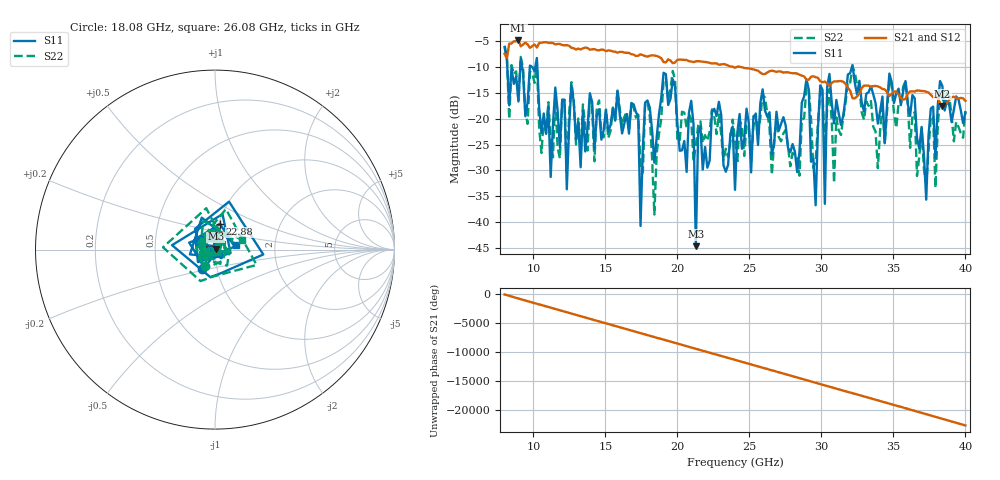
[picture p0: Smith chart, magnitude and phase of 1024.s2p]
!Agilent Technologies,N5227A,US51270464,A.10.00.00
!Agilent N5227A: A.10.00.00
!Date: Thursday, July 23, 2020 15:01:42
!Correction: S11(Full 2 Port(1,2))
!S21(Full 2 Port(1,2))
!S12(Full 2 Port(1,2))
!S22(Full 2 Port(1,2))
!S2P File: Measurements: S11, S21, S12, S22:
# Hz S  RI  R 50
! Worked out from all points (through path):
!   201 points, 8 GHz to 40 GHz, reference 50 ohm
!   highest |S21| = -4.85 dB at 8.96 GHz (marker M1); lowest = -17.5 dB at 38.4 GHz (marker M2)
!   lowest |S11| = -44.7 dB at 21.28 GHz (marker M3), VSWR 1.01, Z = 50.4 + j0.438 ohm
!   |S11| at or under -10 dB: 8.186 GHz to 9.089 GHz (903.2 MHz wide, 10.5 % of centre); 10.27 GHz to 32.12 GHz (21.85 GHz wide, 103 % of centre); 32.18 GHz to end of sweep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
!   |S22| runs from -38.5 to -5.9 dB; largest |S21 - S12| = 0.00032
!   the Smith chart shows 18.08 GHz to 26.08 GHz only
!   S11 on the Smith chart (normalised r, x): 18.08 GHz: 0.85, -0.18; 22.88 GHz: 1.01, +0.30; 26.08 GHz: 1.26, +0.07
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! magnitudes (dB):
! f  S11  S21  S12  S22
! 8 GHz  -6.2  -7.4  -7.4  -5.9
! 8.96 GHz  -16.7  -4.8  -4.8  -16.4
! 12.16 GHz  -16.3  -5.8  -5.8  -16.3
! 12.32 GHz  -33.7  -5.8  -5.8  -30.3
! 12.64 GHz  -13.5  -6.3  -6.3  -12.9
! 13.44 GHz  -18.4  -6.4  -6.4  -17.2
! 16.96 GHz  -17.2  -7.6  -7.6  -17.9
! 17.44 GHz  -40.8  -7.5  -7.5  -29.1
! 18.08 GHz  -17.8  -7.8  -7.8  -19.5
! 18.4 GHz  -28.5  -7.8  -7.8  -38.5
! 18.72 GHz  -19.2  -8.0  -8.0  -23.0
! 20.96 GHz  -16.5  -8.9  -8.9  -20.2
! 21.28 GHz  -44.7  -8.9  -8.9  -25.1
! 21.44 GHz  -22.8  -8.8  -8.8  -21.3
! 22.88 GHz  -16.7  -9.5  -9.5  -19.2
! 24 GHz  -33.8  -10.1  -10.1  -24.1
! 26.08 GHz  -18.4  -11.3  -11.3  -15.9
! 29.44 GHz  -27.7  -11.8  -11.8  -29.6
! 34.72 GHz  -11.3  -15.6  -15.6  -12.3
! 37.28 GHz  -35.7  -14.8  -14.8  -32.6
! 38.4 GHz  -13.7  -17.5  -17.5  -15.8
! 40 GHz  -18.9  -16.5  -16.5  -18.5
